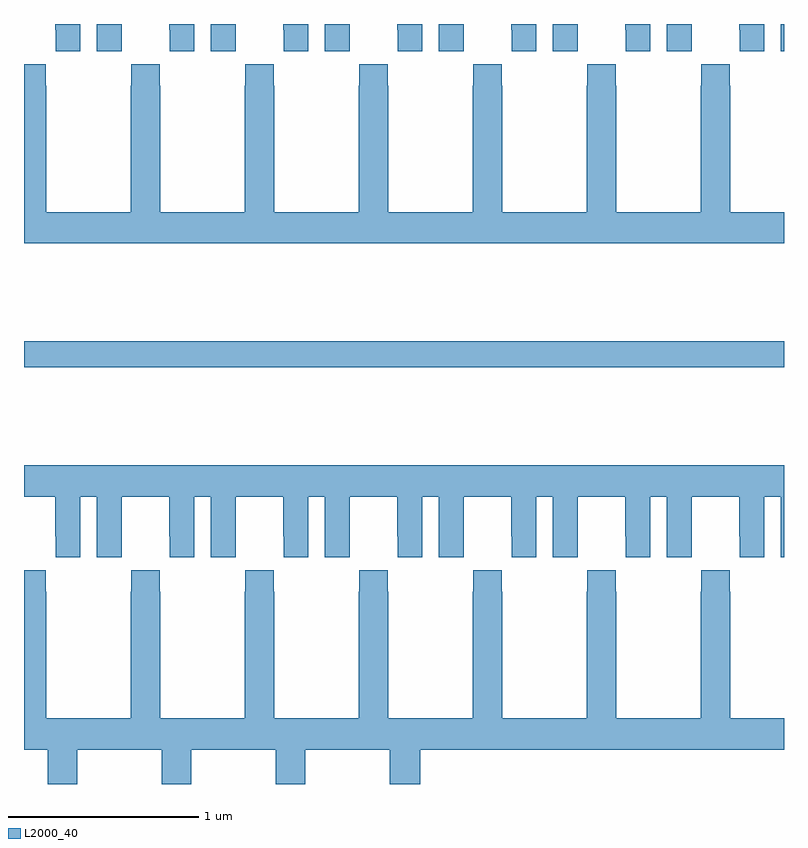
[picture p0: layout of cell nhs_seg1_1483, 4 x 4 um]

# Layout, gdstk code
import gdstk
lib = gdstk.Library(unit=1e-6, precision=1e-09)
def R(c, l, rs):  # rectangles x0, y0, x1, y1
    for r in rs: c.add(gdstk.rectangle(r[:2], r[2:], *l))
def P(c, l, *ps):  # polygons
    for p in ps: c.add(gdstk.Polygon(p, *l))
L2000_40 = (2000, 40)

nhs_seg1_1483 = lib.new_cell('nhs_seg1_1483')
R(nhs_seg1_1483, L2000_40, [(191,572.392,195,572.528), (194.984,574.056,195,574.199)])
P(nhs_seg1_1483, L2000_40, [(193.314,574.168),(193.315,574.168),(193.315,574.199),(193.184,574.199),(193.184,574.056),(193.314,574.056)],
  [(193.096,574.199),(192.965,574.199),(192.965,574.168),(192.966,574.168),(192.966,574.056),(193.096,574.056)],
  [(192.714,574.168),(192.715,574.168),(192.715,574.199),(192.584,574.199),(192.584,574.056),(192.714,574.056)],
  [(192.365,574.168),(192.366,574.168),(192.366,574.056),(192.496,574.056),(192.496,574.199),(192.365,574.199)],
  [(193.696,574.199),(193.565,574.199),(193.565,574.168),(193.566,574.168),(193.566,574.056),(193.696,574.056)],
  [(193.914,574.168),(193.915,574.168),(193.915,574.199),(193.784,574.199),(193.784,574.056),(193.914,574.056)],
  [(194.296,574.199),(194.165,574.199),(194.165,574.168),(194.166,574.168),(194.166,574.056),(194.296,574.056)],
  [(194.514,574.168),(194.515,574.168),(194.515,574.199),(194.384,574.199),(194.384,574.056),(194.514,574.056)],
  [(192.114,574.168),(192.115,574.168),(192.115,574.199),(191.984,574.199),(191.984,574.056),(192.114,574.056)],
  [(191.896,574.199),(191.765,574.199),(191.765,574.168),(191.766,574.168),(191.766,574.056),(191.896,574.056)],
  [(191.514,574.168),(191.515,574.168),(191.515,574.199),(191.384,574.199),(191.384,574.056),(191.514,574.056)],
  [(191.296,574.199),(191.165,574.199),(191.165,574.168),(191.166,574.168),(191.166,574.056),(191.296,574.056)],
  [(194.896,574.199),(194.765,574.199),(194.765,574.168),(194.766,574.168),(194.766,574.056),(194.896,574.056)],
  [(195,573.208),(194.718,573.208),(194.718,573.875),(194.715,573.875),(194.715,573.988),(194.565,573.988),(194.565,573.875),(194.563,573.875),(194.563,573.208),(194.118,573.208),(194.118,573.875),(194.115,573.875),(194.115,573.988),(193.965,573.988),(193.965,573.875),(193.963,573.875),(193.963,573.208),(193.518,573.208),(193.518,573.875),(193.515,573.875),(193.515,573.988),(193.365,573.988),(193.365,573.875),(193.363,573.875),(193.363,573.208),(192.918,573.208),(192.918,573.875),(192.915,573.875),(192.915,573.988),(192.765,573.988),(192.765,573.875),(192.763,573.875),(192.763,573.208),(192.318,573.208),(192.318,573.875),(192.315,573.875),(192.315,573.988),(192.165,573.988),(192.165,573.875),(192.163,573.875),(192.163,573.208),(191.718,573.208),(191.718,573.875),(191.715,573.875),(191.715,573.988),(191.565,573.988),(191.565,573.875),(191.563,573.875),(191.563,573.208),(191.118,573.208),(191.118,573.875),(191.115,573.875),(191.115,573.988),(191,573.988),(191,573.044),(195,573.044)],
  [(191.296,571.712),(191.384,571.712),(191.384,571.392),(191.514,571.392),(191.514,571.504),(191.515,571.504),(191.515,571.712),(191.765,571.712),(191.765,571.504),(191.766,571.504),(191.766,571.392),(191.896,571.392),(191.896,571.712),(191.984,571.712),(191.984,571.392),(192.114,571.392),(192.114,571.504),(192.115,571.504),(192.115,571.712),(192.365,571.712),(192.365,571.504),(192.366,571.504),(192.366,571.392),(192.496,571.392),(192.496,571.712),(192.584,571.712),(192.584,571.392),(192.714,571.392),(192.714,571.504),(192.715,571.504),(192.715,571.712),(192.965,571.712),(192.965,571.504),(192.966,571.504),(192.966,571.392),(193.096,571.392),(193.096,571.712),(193.184,571.712),(193.184,571.392),(193.314,571.392),(193.314,571.504),(193.315,571.504),(193.315,571.712),(193.565,571.712),(193.565,571.504),(193.566,571.504),(193.566,571.392),(193.696,571.392),(193.696,571.712),(193.784,571.712),(193.784,571.392),(193.914,571.392),(193.914,571.504),(193.915,571.504),(193.915,571.712),(194.165,571.712),(194.165,571.504),(194.166,571.504),(194.166,571.392),(194.296,571.392),(194.296,571.712),(194.384,571.712),(194.384,571.392),(194.514,571.392),(194.514,571.504),(194.515,571.504),(194.515,571.712),(194.765,571.712),(194.765,571.504),(194.766,571.504),(194.766,571.392),(194.896,571.392),(194.896,571.712),(194.984,571.712),(194.984,571.392),(195,571.392),(195,571.876),(191,571.876),(191,571.712),(191.165,571.712),(191.165,571.504),(191.166,571.504),(191.166,571.392),(191.296,571.392)],
  [(191.118,571.211),(191.115,571.211),(191.115,571.324),(191,571.324),(191,570.38),(191.125,570.38),(191.125,570.199),(191.28,570.199),(191.28,570.38),(191.725,570.38),(191.725,570.199),(191.88,570.199),(191.88,570.38),(192.325,570.38),(192.325,570.199),(192.48,570.199),(192.48,570.38),(192.925,570.38),(192.925,570.199),(193.085,570.199),(193.085,570.38),(195,570.38),(195,570.544),(194.718,570.544),(194.718,571.211),(194.715,571.211),(194.715,571.324),(194.565,571.324),(194.565,571.211),(194.563,571.211),(194.563,570.544),(194.118,570.544),(194.118,571.211),(194.115,571.211),(194.115,571.324),(193.965,571.324),(193.965,571.211),(193.963,571.211),(193.963,570.544),(193.518,570.544),(193.518,571.211),(193.515,571.211),(193.515,571.324),(193.365,571.324),(193.365,571.211),(193.363,571.211),(193.363,570.544),(192.918,570.544),(192.918,571.211),(192.915,571.211),(192.915,571.324),(192.765,571.324),(192.765,571.211),(192.763,571.211),(192.763,570.544),(192.318,570.544),(192.318,571.211),(192.315,571.211),(192.315,571.324),(192.165,571.324),(192.165,571.211),(192.163,571.211),(192.163,570.544),(191.718,570.544),(191.718,571.211),(191.715,571.211),(191.715,571.324),(191.565,571.324),(191.565,571.211),(191.563,571.211),(191.563,570.544),(191.118,570.544)])

lib.write_gds('nhs_seg1_1483.gds')
